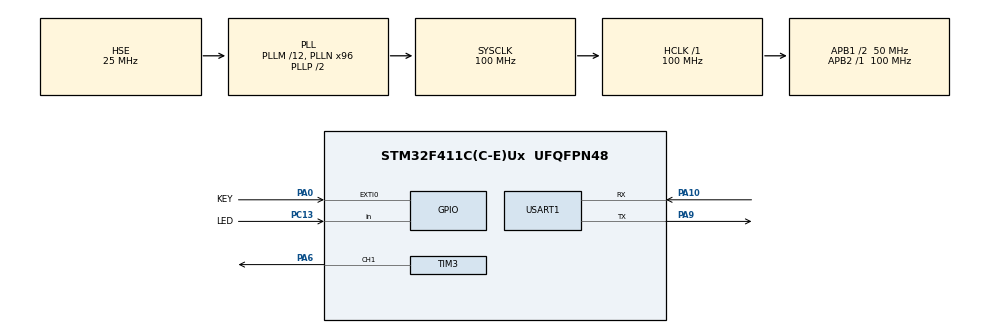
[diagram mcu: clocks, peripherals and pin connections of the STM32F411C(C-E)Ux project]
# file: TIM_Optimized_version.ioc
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FREERTOS.Tasks01=defaultTask,24,128,StartDefaultTask,Default,NULL,Dynamic,NULL,NULL
Mcu.Family=STM32F4
Mcu.Name=STM32F411C(C-E)Ux
Mcu.Package=UFQFPN48
NVIC.EXTI0_IRQn=true\:5\:0\:false\:false\:true\:true\:true\:true\:true
NVIC.PriorityGroup=NVIC_PRIORITYGROUP_4
NVIC.TIM1_UP_TIM10_IRQn=true\:15\:0\:false\:false\:true\:false\:false\:true\:true
NVIC.TIM3_IRQn=true\:5\:0\:false\:false\:true\:true\:true\:true\:true
NVIC.TimeBase=TIM1_UP_TIM10_IRQn
NVIC.TimeBaseIP=TIM1
NVIC.USART1_IRQn=true\:5\:0\:false\:false\:true\:true\:true\:true\:true
PA0-WKUP.GPIO_Label=KEY
PA0-WKUP.GPIO_ModeDefaultEXTI=GPIO_MODE_IT_FALLING
PA0-WKUP.GPIO_PuPd=GPIO_PULLUP
PA0-WKUP.Signal=GPXTI0
PA10.Mode=Asynchronous
PA10.Signal=USART1_RX
PA13.Mode=Serial_Wire
PA13.Signal=SYS_JTMS-SWDIO
PA14.Mode=Serial_Wire
PA14.Signal=SYS_JTCK-SWCLK
PA6.Signal=S_TIM3_CH1
PA9.Mode=Asynchronous
PA9.Signal=USART1_TX
PC13-ANTI_TAMP.GPIO_Label=LED
PC13-ANTI_TAMP.GPIO_PuPd=GPIO_PULLUP
PC13-ANTI_TAMP.Signal=GPIO_Input
PH0\ -\ OSC_IN.Mode=HSE-External-Oscillator
PH0\ -\ OSC_IN.Signal=RCC_OSC_IN
PH1\ -\ OSC_OUT.Mode=HSE-External-Oscillator
PH1\ -\ OSC_OUT.Signal=RCC_OSC_OUT
ProjectManager.HeapSize=0x200
ProjectManager.StackSize=0x400
ProjectManager.TargetToolchain=MDK-ARM V5.32
RCC.48MHZClocksFreq_Value=50000000
RCC.AHBFreq_Value=100000000
RCC.APB1CLKDivider=RCC_HCLK_DIV2
RCC.APB1Freq_Value=50000000
RCC.APB1TimFreq_Value=100000000
RCC.APB2Freq_Value=100000000
RCC.APB2TimFreq_Value=100000000
RCC.CortexFreq_Value=100000000
RCC.HCLKFreq_Value=100000000
RCC.HSE_VALUE=25000000
RCC.HSI_VALUE=16000000
RCC.LSE_VALUE=32768
RCC.PLLM=12
RCC.PLLN=96
RCC.PLLSourceVirtual=RCC_PLLSOURCE_HSE
RCC.SYSCLKFreq_VALUE=100000000
RCC.SYSCLKSource=RCC_SYSCLKSOURCE_PLLCLK
RCC.VCOOutputFreq_Value=200000000
SH.S_TIM3_CH1.0=TIM3_CH1,PWM Generation1 CH1
TIM3.Channel-PWM\ Generation1\ CH1=TIM_CHANNEL_1
TIM3.Period=2000-1
TIM3.Prescaler=10000-1
TIM3.Pulse-PWM\ Generation1\ CH1=1000
USART1.VirtualMode=VM_ASYNC
VP_FREERTOS_VS_CMSIS_V2.Mode=CMSIS_V2
VP_SYS_VS_tim1.Mode=TIM1
board=custom

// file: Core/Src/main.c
/* USER CODE BEGIN Header */
/**
  ******************************************************************************
  * @file           : main.c
  * @brief          : Main program body
  ******************************************************************************
  * @attention
  *
  * Copyright (c) 2026 STMicroelectronics.
  * All rights reserved.
  *
  * This software is licensed under terms that can be found in the LICENSE file
  * in the root directory of this software component.
  * If no LICENSE file comes with this software, it is provided AS-IS.
  *
  ******************************************************************************
  */
/* USER CODE END Header */
#include "main.h"
#include "cmsis_os.h"
#include "tim.h"
#include "usart.h"
#include "gpio.h"

/* USER CODE BEGIN Includes */
#include "FreeRTOS.h"
#include "task.h"
/* USER CODE END Includes */

void SystemClock_Config(void);
void MX_FREERTOS_Init(void);

int main(void)
{

  /* MCU Configuration--------------------------------------------------------*/

  /* Reset of all peripherals, Initializes the Flash interface and the Systick. */
  HAL_Init();

  /* Configure the system clock */
  SystemClock_Config();

  /* Initialize all configured peripherals */
  MX_GPIO_Init();
  MX_USART1_UART_Init();
  MX_TIM3_Init();
  /* USER CODE BEGIN 2 */

HAL_UART_Transmit(&huart1, (uint8_t *)"BOOT\r\n", 6, 100);

  /* USER CODE END 2 */

  /* Init scheduler */

  /* Call init function for freertos objects (in cmsis_os2.c) */
  MX_FREERTOS_Init();

  /* Start scheduler */
  vTaskStartScheduler();

  /* We should never get here as control is now taken by the scheduler */

  /* Infinite loop */
  while (1)
  {

  }
}

void SystemClock_Config(void)
{
  RCC_OscInitTypeDef RCC_OscInitStruct = {0};
  RCC_ClkInitTypeDef RCC_ClkInitStruct = {0};

  /** Configure the main internal regulator output voltage
  */
  __HAL_RCC_PWR_CLK_ENABLE();
  __HAL_PWR_VOLTAGESCALING_CONFIG(PWR_REGULATOR_VOLTAGE_SCALE1);

  /** Initializes the RCC Oscillators according to the specified parameters
  * in the RCC_OscInitTypeDef structure.
  */
  RCC_OscInitStruct.OscillatorType = RCC_OSCILLATORTYPE_HSE;
  RCC_OscInitStruct.HSEState = RCC_HSE_ON;
  RCC_OscInitStruct.PLL.PLLState = RCC_PLL_ON;
  RCC_OscInitStruct.PLL.PLLSource = RCC_PLLSOURCE_HSE;
  RCC_OscInitStruct.PLL.PLLM = 12;
  RCC_OscInitStruct.PLL.PLLN = 96;
  RCC_OscInitStruct.PLL.PLLP = RCC_PLLP_DIV2;
  RCC_OscInitStruct.PLL.PLLQ = 4;
  if (HAL_RCC_OscConfig(&RCC_OscInitStruct) != HAL_OK)
  {
    Error_Handler();
  }

  /** Initializes the CPU, AHB and APB buses clocks
  */
  RCC_ClkInitStruct.ClockType = RCC_CLOCKTYPE_HCLK|RCC_CLOCKTYPE_SYSCLK
                              |RCC_CLOCKTYPE_PCLK1|RCC_CLOCKTYPE_PCLK2;
  RCC_ClkInitStruct.SYSCLKSource = RCC_SYSCLKSOURCE_PLLCLK;
  RCC_ClkInitStruct.AHBCLKDivider = RCC_SYSCLK_DIV1;
  RCC_ClkInitStruct.APB1CLKDivider = RCC_HCLK_DIV2;
  RCC_ClkInitStruct.APB2CLKDivider = RCC_HCLK_DIV1;

  if (HAL_RCC_ClockConfig(&RCC_ClkInitStruct, FLASH_LATENCY_3) != HAL_OK)
  {
    Error_Handler();
  }
}

void HAL_TIM_PeriodElapsedCallback(TIM_HandleTypeDef *htim)
{
  if (htim->Instance == TIM1)
  {
    HAL_IncTick();
  }
  /* USER CODE BEGIN Callback 1 */
  if (htim->Instance == TIM3)
  {

    led_pwm_tick_handler();

  }
  /* USER CODE END Callback 1 */
}

void Error_Handler(void)
{
  __disable_irq();
  while (1)
  {
  }
}

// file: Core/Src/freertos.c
/* USER CODE BEGIN Header */
/**
  ******************************************************************************
  * File Name          : freertos.c
  * Description        : Code for freertos applications
  ******************************************************************************
  * @attention
  *
  * Copyright (c) 2026 STMicroelectronics.
  * All rights reserved.
  *
  * This software is licensed under terms that can be found in the LICENSE file
  * in the root directory of this software component.
  * If no LICENSE file comes with this software, it is provided AS-IS.
  *
  ******************************************************************************
  */
/* USER CODE END Header */

#include "FreeRTOS.h"
#include "task.h"
#include "main.h"
#include "cmsis_os.h"

/* USER CODE BEGIN Includes */
#include "bsp_led.h"
#include "bsp_key.h"
#include "bsp_log.h"
/* USER CODE END Includes */

/* USER CODE BEGIN Variables */
/* 任务内存（静态分配）：栈数组 + 控制块 TCB
   ⚠️ 栈数组必须 8 字节对齐！本工程 FreeRTOS 的 portBYTE_ALIGNMENT = 8，
      prvInitialiseNewTask() 里有 configASSERT((pxStack & 7) == 0) 检查；
      动态分配时 pvPortMalloc 会自动对齐，静态分配就得自己声明 */
__align(8) static StackType_t ledTaskStack[256];      /* 256 word = 1KB */
static StaticTask_t ledTaskTCB;
TaskHandle_t ledTaskHandle = NULL;

__align(8) static StackType_t keyTaskStack[128];      /* 128 word = 512B */
static StaticTask_t keyTaskTCB;
TaskHandle_t keyTaskHandle = NULL;

__align(8) static StackType_t logTaskStack[256];
static StaticTask_t logTaskTCB;
TaskHandle_t logTaskHandle = NULL;
/* USER CODE END Variables */
/* Definitions for defaultTask */

/* USER CODE BEGIN FunctionPrototypes */
extern void xPortSysTickHandler(void);   /* FreeRTOS 的 tick 处理，定义在 port.c；头文件未暴露原型，这里自己声明 */
/* USER CODE END FunctionPrototypes */

void MX_FREERTOS_Init(void); /* (MISRA C 2004 rule 8.1) */

void MX_FREERTOS_Init(void) {

  /* USER CODE BEGIN RTOS_QUEUES */
  /* add queues, ... */
  (void)led_init();
  (void)key_init();
  (void)log_init();
  /* USER CODE END RTOS_QUEUES */

  /* Create the thread(s) */
  /* creation of defaultTask */

  /* USER CODE BEGIN RTOS_THREADS */
  /* add threads, ... */
  ledTaskHandle = xTaskCreateStatic(led_task_func, "LEDTask", 256, NULL,
                                  tskIDLE_PRIORITY + 3, ledTaskStack, &ledTaskTCB);
  if (NULL == ledTaskHandle) { Error_Handler(); }

  keyTaskHandle = xTaskCreateStatic(key_task_func,"KEYTask",128,NULL,
                                    tskIDLE_PRIORITY + 5,keyTaskStack,&keyTaskTCB);
  if(NULL == keyTaskHandle){Error_Handler();}

  logTaskHandle = xTaskCreateStatic(log_task_func, "LogTask", 256, NULL,
                                  tskIDLE_PRIORITY + 7, logTaskStack, &logTaskTCB);
  if (NULL == logTaskHandle) { Error_Handler(); }
  /* USER CODE END RTOS_THREADS */

}

/* USER CODE BEGIN Application */
void vApplicationGetIdleTaskMemory(StaticTask_t **ppxIdleTaskTCBBuffer,
                                   StackType_t  **ppxIdleTaskStackBuffer,
                                   uint32_t      *pulIdleTaskStackSize)
{
    /* ⚠️ 栈数组同样必须 8 字节对齐（理由见 USER CODE BEGIN Variables 处的注释） */
    __align(8) static StaticTask_t xIdleTaskTCB;
    __align(8) static StackType_t  uxIdleTaskStack[configMINIMAL_STACK_SIZE];   /* = 128 word */

    *ppxIdleTaskTCBBuffer   = &xIdleTaskTCB;
    *ppxIdleTaskStackBuffer = uxIdleTaskStack;
    *pulIdleTaskStackSize   = configMINIMAL_STACK_SIZE;
}

void vApplicationGetTimerTaskMemory(StaticTask_t **ppxTimerTaskTCBBuffer,
                                    StackType_t  **ppxTimerTaskStackBuffer,
                                    uint32_t      *pulTimerTaskStackSize)
{
    __align(8) static StaticTask_t xTimerTaskTCB;
    __align(8) static StackType_t  uxTimerTaskStack[configTIMER_TASK_STACK_DEPTH];  /* = 256 word */

    *ppxTimerTaskTCBBuffer   = &xTimerTaskTCB;
    *ppxTimerTaskStackBuffer = uxTimerTaskStack;
    *pulTimerTaskStackSize   = configTIMER_TASK_STACK_DEPTH;
}

/* FreeRTOS 的 tick 中断处理。
   ⚠️ 原来定义在 cmsis_os2.c 里，移除那个文件后必须自己提供；
      否则 SysTick 中断会回落到启动文件的 Default_Handler（死循环）→ 一进中断整机卡死。
   注：本工程 HAL 时基是 TIM1（main.c 的 HAL_TIM_PeriodElapsedCallback 里调 HAL_IncTick），
       所以这里不需要调 HAL_IncTick()。 */
void SysTick_Handler(void)
{
    SysTick->CTRL;      /* 读一下 CTRL 即可清除 SysTick 的溢出标志 */

    if (xTaskGetSchedulerState() != taskSCHEDULER_NOT_STARTED)
    {
        xPortSysTickHandler();
    }
}
/* USER CODE END Application */
